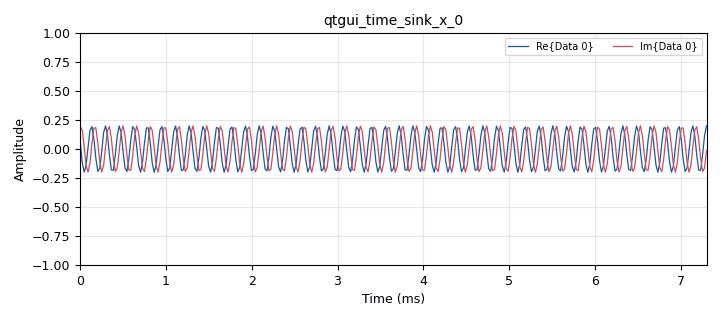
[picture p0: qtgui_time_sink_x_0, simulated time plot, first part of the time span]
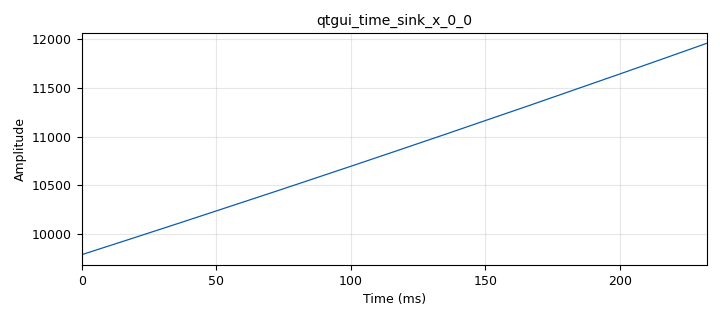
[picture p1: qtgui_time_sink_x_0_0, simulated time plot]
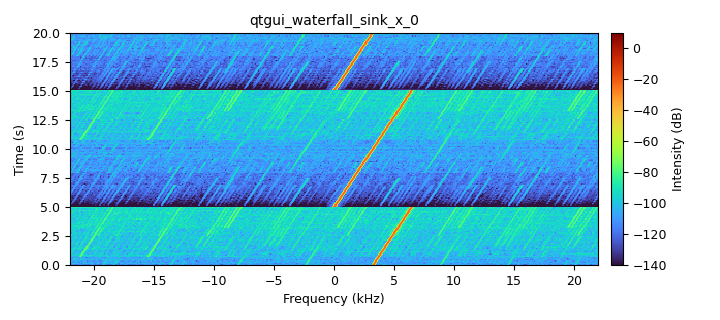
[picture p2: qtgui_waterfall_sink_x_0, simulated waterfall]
options:
  parameters:
    generate_options: qt_gui
    id: chirp_with_square
    output_language: python
    title: Chirp with squaring function
  states: {}

blocks:
- name: max_freq_dev
  id: variable_qtgui_range
  parameters:
    start: '0'
    step: '10'
    stop: '1000'
    value: '450'
  states: {}
- name: samp_rate
  id: variable
  parameters:
    value: '44100'
  states: {}
- name: analog_const_source_x_0
  id: analog_const_source_x
  parameters:
    const: '0.2'
    type: float
  states: {}
- name: analog_sig_source_x_0
  id: analog_sig_source_x
  parameters:
    amp: max_freq_dev
    freq: '.1'
    offset: '0'
    phase: '0'
    samp_rate: samp_rate
    type: float
    waveform: analog.GR_SAW_WAVE
  states: {}
- name: blocks_magphase_to_complex_0
  id: blocks_magphase_to_complex
  parameters: {}
  states: {}
- name: blocks_multiply_xx_0
  id: blocks_multiply_xx
  parameters:
    type: float
  states: {}
- name: blocks_throttle2_0
  id: blocks_throttle2
  parameters:
    samples_per_second: samp_rate
    type: float
  states: {}
- name: import_0
  id: import
  parameters:
    imports: import math
  states: {}
- name: qtgui_time_sink_x_0
  id: qtgui_time_sink_x
  parameters:
    size: '1024'
    srate: samp_rate
    type: complex
  states: {}
- name: qtgui_time_sink_x_0_0
  id: qtgui_time_sink_x
  parameters:
    autoscale: 'True'
    size: '10240'
    srate: samp_rate
    type: float
    ymax: 1e8
  states: {}
- name: qtgui_waterfall_sink_x_0
  id: qtgui_waterfall_sink_x
  parameters:
    bw: samp_rate
    fc: '0'
    fftsize: '1024'
    type: complex
  states: {}

connections:
- [analog_const_source_x_0, '0', blocks_magphase_to_complex_0, '0']
- [analog_sig_source_x_0, '0', blocks_multiply_xx_0, '0']
- [analog_sig_source_x_0, '0', blocks_multiply_xx_0, '1']
- [blocks_magphase_to_complex_0, '0', qtgui_time_sink_x_0, '0']
- [blocks_magphase_to_complex_0, '0', qtgui_waterfall_sink_x_0, '0']
- [blocks_multiply_xx_0, '0', blocks_throttle2_0, '0']
- [blocks_throttle2_0, '0', blocks_magphase_to_complex_0, '1']
- [blocks_throttle2_0, '0', qtgui_time_sink_x_0_0, '0']

metadata:
  file_format: 1
  grc_version: 3.10.9.2
